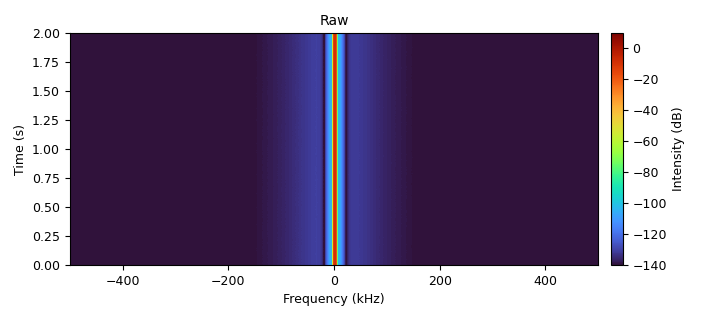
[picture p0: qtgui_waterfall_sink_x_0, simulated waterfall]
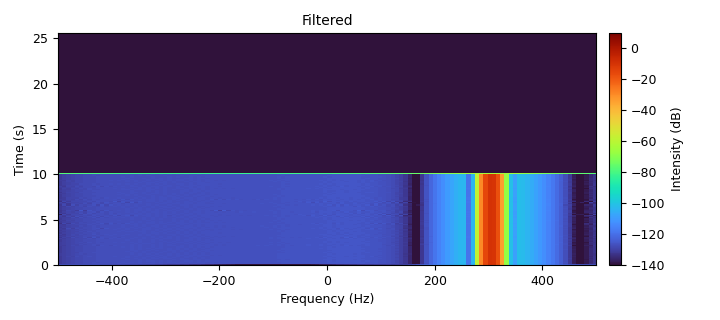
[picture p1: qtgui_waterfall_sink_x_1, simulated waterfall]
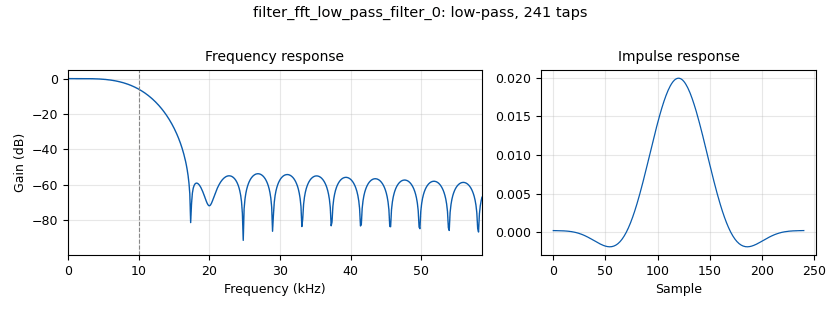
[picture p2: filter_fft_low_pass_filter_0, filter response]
options:
  parameters:
    generate_options: qt_gui
    id: Itrigger2_virtual
    output_language: python
    title: Trigger Virtual
  states: {}

blocks:
- name: decimation
  id: variable
  parameters:
    value: '1000'
  states: {}
- name: fftsz
  id: variable
  parameters:
    value: '1024'
  states: {}
- name: samp_rate
  id: variable
  parameters:
    value: 1e6
  states: {}
- name: analog_sig_source_x_0
  id: analog_sig_source_x
  parameters:
    amp: '1'
    freq: 500e3
    offset: '0'
    phase: '0'
    samp_rate: samp_rate
    type: complex
    waveform: analog.GR_COS_WAVE
  states: {}
- name: blocks_add_xx_0
  id: blocks_add_xx
  parameters:
    type: complex
  states: {state: disabled}
- name: blocks_multiply_conjugate_cc_0
  id: blocks_multiply_conjugate_cc
  parameters: {}
  states: {}
- name: blocks_throttle_0
  id: blocks_throttle
  parameters:
    samples_per_second: samp_rate
    type: complex
  states: {}
- name: epy_block_1
  id: epy_block
  parameters:
    _source_code: |
      """
      Local Chirp
      By Jaden Keener, Last updated 3/27/23

      Generates a local tone that sweeps the spectrum at the specified slope

      """

      import numpy as np
      import pmt
      from gnuradio import gr


      class blk(gr.sync_block):  

          def __init__(self, slope=100e3, samp_rate=200e6/12, offset = 10e3):
              gr.sync_block.__init__(
                  self,
                  name='Local Chirp Test 1.0',   
                  in_sig=[np.complex64],
                  out_sig=[np.complex64]
              )

              self.slope = slope  
              self.fs = samp_rate
              self.offset = offset
              self.debug = False
              
              self.lastT = 0
              self.lastF = -self.fs/2 + self.offset
              self.spanF = self.lastF + self.fs/2 - self.offset
              self.dt = 1/self.fs
              self.df = self.slope/self.fs/2 #why /2 ?? I have no idea, but it has to be
              # over 2 has something to do with span of f not being -fs/2 to fs/2 but
              # just fs..???
              
              
              self.controlPortName = 'controlIn'
              self.message_port_register_in(pmt.intern(self.controlPortName))
              self.set_msg_handler(pmt.intern(self.controlPortName), self.handle_msg)
              self.control = False
              
                  
              
          def handle_msg(self, msg):
              controlIn = pmt.to_bool(msg)
              
              if controlIn > self.controlLast+self.trigger_Power:
                  self.control = True
              
              self.controlLast = controlIn
              
          def work(self, input_items, output_items):
          
              # Find number of samples on this call
              n = len(input_items[0]) 

              # If we havent progged the whole spectrum
              if self.lastF <= self.offset/2: # WHY OFFSET/2 ??????????? IDK
              
                  # Calculate the values of T and F we prog to on this call
                  newT = self.dt*n + self.lastT
                  newF = self.df*n + self.lastF
                  
                  # Make sure arrays are correct size. Can get slightly offsize due
                  # to float precision errors
                  t = np.resize(np.arange(self.lastT, newT, self.dt), n)
                  f = np.resize(np.arange(self.lastF, newF, self.df), n)
                  
                  # Output is a complex exponential (I/Q)
                  output_items[0][:] = np.exp(1j*2*np.pi*f*t)
                  
                  # Update bookmarks
                  self.lastT = newT
                  self.lastF = newF
              
              # Otherwise do nothing
              else:
                  output_items[0][:] = input_items[0] * 0;
                  if self.debug:
                      self.debug = False
                      raise ValueError(self.lastF)
                  
              
              return len(output_items[0])
    offset: '300'
    samp_rate: samp_rate
    slope: 100e3
  states: {}
- name: epy_block_1_0
  id: epy_block
  parameters:
    _source_code: |
      """
      Local Chirp
      By Jaden Keener, Last updated 3/27/23

      Generates a local tone that sweeps the spectrum at the specified slope

      """

      import numpy as np
      import pmt
      from gnuradio import gr


      class blk(gr.sync_block):  

          def __init__(self, slope=100e3, samp_rate=200e6/12, offset = 10e3):
              gr.sync_block.__init__(
                  self,
                  name='Local Chirp Test 1.0',   
                  in_sig=[np.complex64],
                  out_sig=[np.complex64]
              )

              self.slope = slope  
              self.fs = samp_rate
              self.offset = offset
              self.debug = False
              
              self.lastT = 0
              self.lastF = -self.fs/2 + self.offset
              self.spanF = self.lastF + self.fs/2 - self.offset
              self.dt = 1/self.fs
              self.df = self.slope/self.fs/2 #why /2 ?? I have no idea, but it has to be
              # over 2 has something to do with span of f not being -fs/2 to fs/2 but
              # just fs..???
              
              
              self.controlPortName = 'controlIn'
              self.message_port_register_in(pmt.intern(self.controlPortName))
              self.set_msg_handler(pmt.intern(self.controlPortName), self.handle_msg)
              self.control = False
              
                  
              
          def handle_msg(self, msg):
              controlIn = pmt.to_bool(msg)
              
              if controlIn > self.controlLast+self.trigger_Power:
                  self.control = True
              
              self.controlLast = controlIn
              
          def work(self, input_items, output_items):
          
              # Find number of samples on this call
              n = len(input_items[0]) 

              # If we havent progged the whole spectrum
              if self.lastF <= self.offset/2: # WHY OFFSET/2 ??????????? IDK
              
                  # Calculate the values of T and F we prog to on this call
                  newT = self.dt*n + self.lastT
                  newF = self.df*n + self.lastF
                  
                  # Make sure arrays are correct size. Can get slightly offsize due
                  # to float precision errors
                  t = np.resize(np.arange(self.lastT, newT, self.dt), n)
                  f = np.resize(np.arange(self.lastF, newF, self.df), n)
                  
                  # Output is a complex exponential (I/Q)
                  output_items[0][:] = np.exp(1j*2*np.pi*f*t)
                  
                  # Update bookmarks
                  self.lastT = newT
                  self.lastF = newF
              
              # Otherwise do nothing
              else:
                  output_items[0][:] = input_items[0] * 0;
                  if self.debug:
                      self.debug = False
                      raise ValueError(self.lastF)
                  
              
              return len(output_items[0])
    offset: '0'
    samp_rate: samp_rate
    slope: 100e3
  states: {}
- name: filter_fft_low_pass_filter_0
  id: filter_fft_low_pass_filter
  parameters:
    cutoff_freq: 10e3
    decim: decimation
    gain: '1'
    samp_rate: samp_rate
    type: ccc
    width: 10e3
    win: window.WIN_HAMMING
  states: {}
- name: qtgui_waterfall_sink_x_0
  id: qtgui_waterfall_sink_x
  parameters:
    bw: samp_rate
    fc: '0'
    fftsize: '1024'
    name: '"Raw"'
    type: complex
    update_time: '0.1'
  states: {}
- name: qtgui_waterfall_sink_x_1
  id: qtgui_waterfall_sink_x
  parameters:
    bw: samp_rate/decimation
    fc: '0'
    fftsize: '128'
    grid: 'True'
    name: '"Filtered"'
    type: complex
    update_time: decimation/samp_rate/128
  states: {}

connections:
- [analog_sig_source_x_0, '0', blocks_throttle_0, '0']
- [blocks_add_xx_0, '0', qtgui_waterfall_sink_x_0, '0']
- [blocks_multiply_conjugate_cc_0, '0', filter_fft_low_pass_filter_0, '0']
- [blocks_multiply_conjugate_cc_0, '0', qtgui_waterfall_sink_x_0, '0']
- [blocks_throttle_0, '0', epy_block_1, '0']
- [blocks_throttle_0, '0', epy_block_1_0, '0']
- [epy_block_1, '0', blocks_add_xx_0, '0']
- [epy_block_1, '0', blocks_multiply_conjugate_cc_0, '0']
- [epy_block_1_0, '0', blocks_multiply_conjugate_cc_0, '1']
- [filter_fft_low_pass_filter_0, '0', qtgui_waterfall_sink_x_1, '0']

metadata:
  file_format: 1
  grc_version: 3.10.5.0
